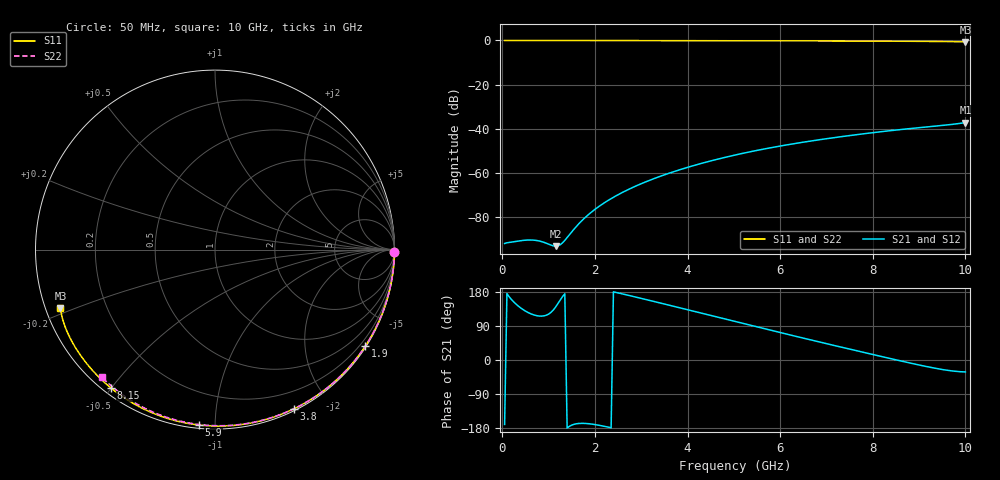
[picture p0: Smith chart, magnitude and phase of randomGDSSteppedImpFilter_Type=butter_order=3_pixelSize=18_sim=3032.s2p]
! freq	dB(S11)	phase(S11)	dB(S12)	phase(S12)
!  dB(S21)	phase(S21)	dB(S22)	phase(S22)
!S-par simulation data
#  GHz  S  DB  R 50
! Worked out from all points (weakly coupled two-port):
!   200 points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, 50 MHz to 10 GHz, reference 50 ohm
!   highest |S21| = -37.27 dB at 10 GHz (marker M1); lowest = -93.4 dB at 1.15 GHz (marker M2)
!   lowest |S11| = -0.7 dB at 10 GHz (marker M3), VSWR 24.11, Z = 2.14 - j9.1 ohm
!   |S11| at or under -10 dB: nowhere
!   |S22| runs from -0.4 to 0.0 dB; largest |S21 - S12| = 0
!   S11 on the Smith chart (normalised r, x): 50 MHz: open; 1.9 GHz: 0.03, -3.41; 3.8 GHz: 0.02, -1.61; 5.9 GHz: 0.02, -0.91; 8.15 GHz: 0.02, -0.50; 10 GHz: 0.04, -0.18
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0.05  -0.00 -0.9  -92.20 -170.1  -92.20 -170.1  -0.00 -0.8
0.6  -0.01 -10.5  -90.60 122.8  -90.60 122.8  -0.01 -9.1
1.15  -0.02 -20.0  -93.41 139.5  -93.41 139.5  -0.02 -17.4
1.75  -0.04 -30.2  -81.18 -167.2  -81.18 -167.2  -0.03 -26.2
1.8  -0.04 -31.0  -80.19 -167.5  -80.19 -167.5  -0.03 -27.0
1.9  -0.04 -32.7  -78.37 -168.6  -78.37 -168.6  -0.04 -28.4
2.2  -0.05 -37.7  -73.77 -174.9  -73.77 -174.9  -0.04 -32.8
2.55  -0.06 -43.5  -69.48 175.7  -69.48 175.7  -0.05 -37.9
2.95  -0.06 -50.1  -65.50 164.1  -65.50 164.1  -0.06 -43.6
3.4  -0.08 -57.3  -61.76 150.7  -61.76 150.7  -0.07 -49.9
3.8  -0.09 -63.6  -58.92 138.8  -58.92 138.8  -0.08 -55.5
4.4  -0.10 -72.9  -55.25 120.7  -55.25 120.7  -0.09 -63.7
5.05  -0.13 -82.7  -51.91 101.1  -51.91 101.1  -0.11 -72.3
5.9  -0.16 -95.2  -48.32 75.5  -48.32 75.5  -0.14 -83.2
6.7  -0.21 -106.6  -45.54 51.9  -45.54 51.9  -0.18 -93.2
7.4  -0.25 -116.4  -43.46 31.6  -43.46 31.6  -0.22 -101.6
8.15  -0.31 -126.9  -41.50 10.3  -41.50 10.3  -0.27 -110.5
8.35  -0.33 -129.7  -41.03 4.6  -41.03 4.6  -0.29 -112.8
8.95  -0.39 -138.4  -39.71 -11.9  -39.71 -11.9  -0.34 -119.7
9.45  -0.46 -146.5  -38.70 -24.0  -38.70 -24.0  -0.39 -125.4
9.8  -0.56 -153.5  -37.89 -30.0  -37.89 -30.0  -0.42 -129.4
10  -0.72 -159.3  -37.27 -31.4  -37.27 -31.4  -0.45 -131.6
